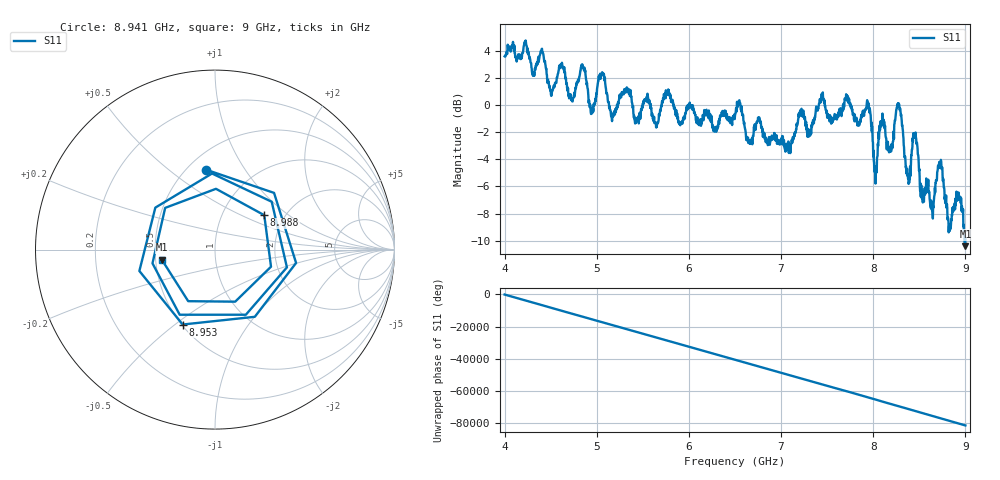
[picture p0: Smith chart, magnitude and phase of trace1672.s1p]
! Created with skrf 1.8.0 (http://scikit-rf.org).
# Hz S RI R 50.0
!freq ReS11 ImS11
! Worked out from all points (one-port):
!   1601 points, 4 GHz to 9 GHz, reference 50 ohm
!   lowest |S11| = -10.4 dB at 9 GHz (marker M1), VSWR 1.86, Z = 27 - j3.32 ohm
!   |S11| at or under -10 dB: 8.99298 GHz to 8.995212 GHz (2.232 MHz wide, 0.0248 % of centre); 8.998015 GHz to end of sweep
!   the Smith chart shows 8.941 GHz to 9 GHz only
!   S11 on the Smith chart (normalised r, x): 8.941 GHz: 0.62, +0.69; 8.953 GHz: 0.51, -0.53; 8.988 GHz: 1.58, +0.68; 9 GHz: 0.54, -0.07
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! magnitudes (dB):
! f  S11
! 4 GHz  3.6
! 4.509 GHz  0.7
! 4.625 GHz  3.0
! 4.719 GHz  0.7
! 4.85 GHz  2.8
! 4.938 GHz  -0.7
! 5.053 GHz  2.3
! 5.162 GHz  -0.9
! 5.25 GHz  0.5
! 5.875 GHz  -0.8
! 6.5 GHz  -0.8
! 7.125 GHz  -2.5
! 7.75 GHz  0.1
! 7.947 GHz  0.0
! 8.025 GHz  -5.8
! 8.091 GHz  -1.2
! 8.188 GHz  -3.0
! 8.278 GHz  0.0
! 8.375 GHz  -5.1
! 8.453 GHz  -2.2
! 8.531 GHz  -6.4
! 8.641 GHz  -7.6
! 8.725 GHz  -4.4
! 8.828 GHz  -9.2
! 8.941 GHz  -7.0
! 8.953 GHz  -6.8
! 8.988 GHz  -9.5
! 9 GHz  -10.4
